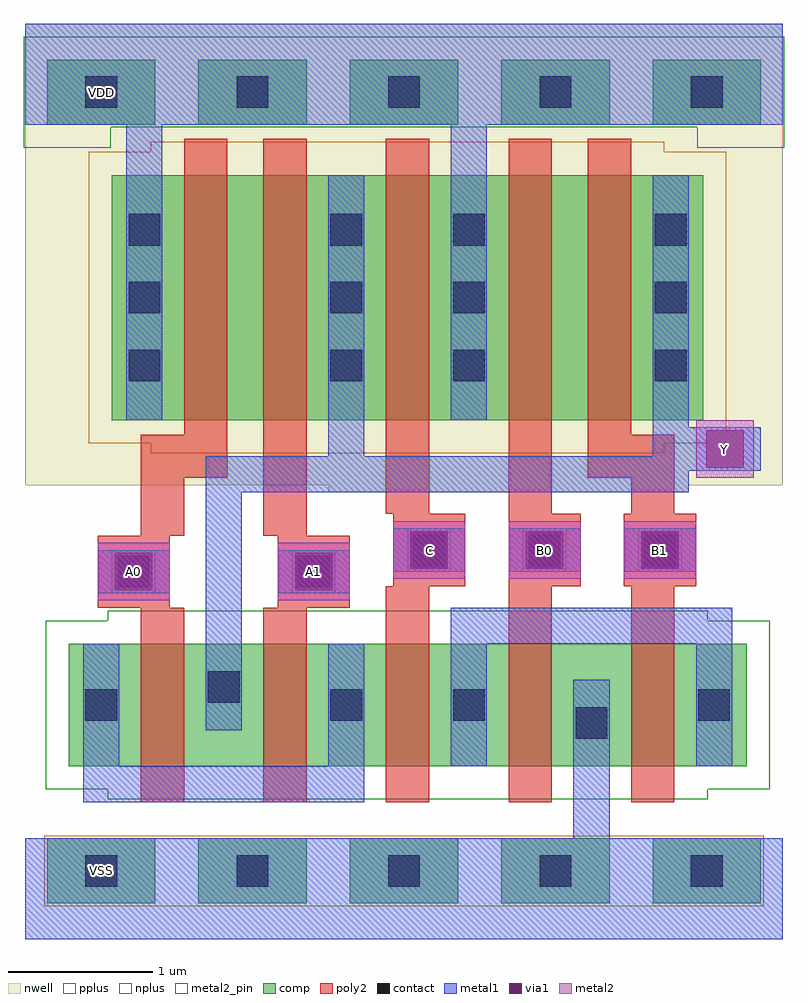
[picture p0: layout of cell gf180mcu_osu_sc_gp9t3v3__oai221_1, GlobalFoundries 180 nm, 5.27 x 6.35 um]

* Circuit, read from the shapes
.subckt gf180mcu_osu_sc_gp9t3v3__oai221_1 A0 A1 B0 B1 C VDD VSS Y
XM1 Y A0 n1 VSS nfet_03v3 w=0.85u l=0.3u
XM2 n1 A1 Y VSS nfet_03v3 w=0.85u l=0.3u
XM3 n2 C n1 VSS nfet_03v3 w=0.85u l=0.3u
XM4 VSS B0 n2 VSS nfet_03v3 w=0.85u l=0.3u
XM5 n2 B1 VSS VSS nfet_03v3 w=0.85u l=0.3u
XM6 n3 A0 VDD VDD pfet_03v3 w=1.7u l=0.3u
XM7 Y A1 n3 VDD pfet_03v3 w=1.7u l=0.3u
XM8 VDD C Y VDD pfet_03v3 w=1.7u l=0.3u
XM9 n4 B0 VDD VDD pfet_03v3 w=1.7u l=0.3u
XM10 Y B1 n4 VDD pfet_03v3 w=1.7u l=0.3u
.ends

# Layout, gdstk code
import gdstk
lib = gdstk.Library(unit=1e-6, precision=1e-09)
def R(c, l, rs):  # rectangles x0, y0, x1, y1
    for r in rs: c.add(gdstk.rectangle(r[:2], r[2:], *l))
def A(c, l, x, y, w, h, nx, ny, dx, dy):  # array of equal rectangles
    R(c, l, [(x+i*dx, y+j*dy, x+i*dx+w, y+j*dy+h) for i in range(nx) for j in range(ny)])
nwell = (21, 0)
comp = (22, 0)
poly2 = (30, 0)
pplus = (31, 0)
nplus = (32, 0)
contact = (33, 0)
metal1 = (34, 0)
via1 = (35, 0)
metal2 = (36, 0)
metal2_pin = (36, 10)

gf180mcu_osu_sc_gp9t3v3_ = lib.new_cell('gf180mcu_osu_sc_gp9t3v3__oai221_1')
R(gf180mcu_osu_sc_gp9t3v3_, nwell, [(2.1,3.1,4.6,3.15), (0,3.15,5.25,6.35)])
A(gf180mcu_osu_sc_gp9t3v3_, comp, 0.15, 0.25, 0.75, 0.45, 5, 2, 1.05, 5.4)
R(gf180mcu_osu_sc_gp9t3v3_, comp, [(0.3,1.2,5,2.05), (0.6,3.6,4.7,5.3)])
A(gf180mcu_osu_sc_gp9t3v3_, poly2, 2.5, 0.95, 0.3, 1.5, 3, 1, 0.85, 0)
A(gf180mcu_osu_sc_gp9t3v3_, poly2, 2.55, 2.45, 0.5, 0.5, 3, 1, 0.8, 0)
R(gf180mcu_osu_sc_gp9t3v3_, poly2, [(0.8,0.95,1.1,2.3), (1.65,0.95,1.95,2.3), (0.5,2.3,1,2.8), (1.75,2.3,2.25,2.8), (0.8,2.8,1.1,3.2), (1.65,2.8,1.95,5.55), (2.5,2.95,2.8,5.55), (3.35,2.95,3.65,5.55), (4.2,2.95,4.5,3.2), (0.8,3.2,1.4,3.5), (3.9,3.2,4.5,3.5), (1.1,3.5,1.4,5.55), (3.9,3.5,4.2,5.55)])
R(gf180mcu_osu_sc_gp9t3v3_, pplus, [(0.13,0.23,5.12,0.72), (0.87,3.37,4.43,3.44), (0.44,3.44,4.86,5.46), (0.87,5.46,4.43,5.53)])
R(gf180mcu_osu_sc_gp9t3v3_, nplus, [(0.57,0.97,4.73,1.04), (0.14,1.04,5.16,2.21), (0.57,2.21,4.73,2.28), (-0.01,5.49,0.59,5.63), (4.66,5.49,5.26,5.63), (-0.01,5.63,5.26,6.26)])
A(gf180mcu_osu_sc_gp9t3v3_, contact, 0.415, 0.365, 0.22, 0.22, 5, 2, 1.05, 5.4)
A(gf180mcu_osu_sc_gp9t3v3_, contact, 2.69, 2.59, 0.22, 0.22, 3, 1, 0.8, 0)
A(gf180mcu_osu_sc_gp9t3v3_, contact, 0.715, 3.87, 0.22, 0.22, 1, 3, 0, 0.47)
A(gf180mcu_osu_sc_gp9t3v3_, contact, 2.115, 3.87, 0.22, 0.22, 1, 3, 0, 0.47)
A(gf180mcu_osu_sc_gp9t3v3_, contact, 2.965, 3.87, 0.22, 0.22, 1, 3, 0, 0.47)
A(gf180mcu_osu_sc_gp9t3v3_, contact, 4.365, 3.87, 0.22, 0.22, 1, 3, 0, 0.47)
R(gf180mcu_osu_sc_gp9t3v3_, contact, [(3.815,1.39,4.035,1.61), (0.415,1.515,0.635,1.735), (2.115,1.515,2.335,1.735), (2.965,1.515,3.185,1.735), (4.665,1.515,4.885,1.735), (1.265,1.64,1.485,1.86), (0.64,2.44,0.86,2.66), (1.89,2.44,2.11,2.66)])
A(gf180mcu_osu_sc_gp9t3v3_, metal1, 2.55, 2.55, 0.5, 0.3, 3, 1, 0.8, 0)
R(gf180mcu_osu_sc_gp9t3v3_, metal1, [(0,0,5.25,0.7), (3.8,0.7,4.05,1.8), (0.4,0.95,2.35,1.2), (0.4,1.2,0.65,2.05), (2.1,1.2,2.35,2.05), (2.95,1.2,3.2,2.05), (4.65,1.2,4.9,2.05), (1.25,1.45,1.5,3.1), (2.95,2.05,4.9,2.3), (0.5,2.4,1,2.7), (1.75,2.4,2.25,2.7), (1.25,3.1,4.6,3.25), (1.25,3.25,5.1,3.35), (2.1,3.35,2.35,5.3), (4.35,3.35,5.1,3.55), (4.35,3.55,4.6,5.3), (0.7,3.6,0.95,5.65), (2.95,3.6,3.2,5.65), (0,5.65,5.25,6.35)])
A(gf180mcu_osu_sc_gp9t3v3_, via1, 2.67, 2.57, 0.26, 0.26, 3, 1, 0.8, 0)
R(gf180mcu_osu_sc_gp9t3v3_, via1, [(0.62,2.42,0.88,2.68), (1.87,2.42,2.13,2.68), (4.72,3.27,4.98,3.53)])
A(gf180mcu_osu_sc_gp9t3v3_, metal2, 2.55, 2.5, 0.5, 0.4, 3, 1, 0.8, 0)
R(gf180mcu_osu_sc_gp9t3v3_, metal2, [(0.5,2.35,1,2.75), (1.75,2.35,2.25,2.75), (4.65,3.2,5.05,3.6)])
A(gf180mcu_osu_sc_gp9t3v3_, metal2_pin, 2.65, 2.55, 0.3, 0.3, 3, 1, 0.8, 0)
R(gf180mcu_osu_sc_gp9t3v3_, metal2_pin, [(0.6,2.4,0.9,2.7), (1.85,2.4,2.15,2.7)])
gf180mcu_osu_sc_gp9t3v3_.add(gdstk.Label('A0', (0.75,2.55), layer=36, texttype=10))
gf180mcu_osu_sc_gp9t3v3_.add(gdstk.Label('A1', (2,2.55), layer=36, texttype=10))
gf180mcu_osu_sc_gp9t3v3_.add(gdstk.Label('B0', (3.6,2.7), layer=36, texttype=10))
gf180mcu_osu_sc_gp9t3v3_.add(gdstk.Label('B1', (4.4,2.7), layer=36, texttype=10))
gf180mcu_osu_sc_gp9t3v3_.add(gdstk.Label('C', (2.8,2.7), layer=36, texttype=10))
gf180mcu_osu_sc_gp9t3v3_.add(gdstk.Label('Y', (4.85,3.4), layer=34, texttype=10))
gf180mcu_osu_sc_gp9t3v3_.add(gdstk.Label('VSS', (0.525,0.475), layer=34, texttype=10))
gf180mcu_osu_sc_gp9t3v3_.add(gdstk.Label('VDD', (0.525,5.875), layer=34, texttype=10))

lib.write_gds('gf180mcu_osu_sc_gp9t3v3__oai221_1.gds')
